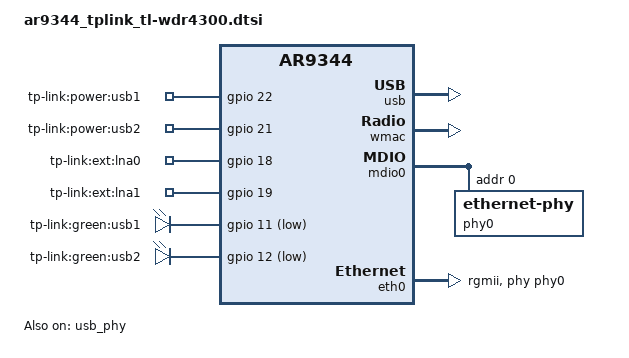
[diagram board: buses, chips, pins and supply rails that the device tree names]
// SPDX-License-Identifier: GPL-2.0-or-later OR MIT

#include "ar9344_tplink_tl-wdrxxxx.dtsi"

/ {
	aliases {
		label-mac-device = &ath9k;
	};

	gpio-export {
		compatible = "gpio-export";

		gpio_usb1_power {
			gpio-export,name = "tp-link:power:usb1";
			gpio-export,output = <1>;
			gpios = <&gpio 22 GPIO_ACTIVE_HIGH>;
		};

		gpio_usb2_power {
			gpio-export,name = "tp-link:power:usb2";
			gpio-export,output = <1>;
			gpios = <&gpio 21 GPIO_ACTIVE_HIGH>;
		};

		gpio_ext_lna0 {
			gpio-export,name = "tp-link:ext:lna0";
			gpio-export,output = <1>;
			gpios = <&gpio 18 GPIO_ACTIVE_HIGH>;
		};

		gpio_ext_lna1 {
			gpio-export,name = "tp-link:ext:lna1";
			gpio-export,output = <1>;
			gpios = <&gpio 19 GPIO_ACTIVE_HIGH>;
		};
	};
};

&leds {
	usb1 {
		label = "tp-link:green:usb1";
		gpios = <&gpio 11 GPIO_ACTIVE_LOW>;
		trigger-sources = <&hub_port1>;
		linux,default-trigger = "usbport";
	};

	usb2 {
		label = "tp-link:green:usb2";
		gpios = <&gpio 12 GPIO_ACTIVE_LOW>;
		trigger-sources = <&hub_port2>;
		linux,default-trigger = "usbport";
	};
};

&usb {
	#address-cells = <1>;
	#size-cells = <0>;
	status = "okay";

	port@1 {
		#address-cells = <1>;
		#size-cells = <0>;
		reg = <1>;
		#trigger-source-cells = <0>;

		hub_port1: port@1 {
			reg = <1>;
			#trigger-source-cells = <0>;
		};

		hub_port2: port@2 {
			reg = <2>;
			#trigger-source-cells = <0>;
		};
	};
};

&usb_phy {
	status = "okay";
};

&ath9k {
	mtd-mac-address = <&uboot 0x1fc00>;
};

&wmac {
	mtd-mac-address = <&uboot 0x1fc00>;
	mtd-mac-address-increment = <(-1)>;
};

&mdio0 {
	status = "okay";

	phy-mask = <0>;

	phy0: ethernet-phy@0 {
		reg = <0>;
		phy-mode = "rgmii";

		qca,ar8327-initvals = <
			0x04 0x07600000 /* PORT0 PAD MODE CTRL */
			0x10 0x80000080 /* POWER_ON_STRAP */
			0x50 0xc737c737 /* LED_CTRL0 */
			0x54 0x00000000 /* LED_CTRL1 */
			0x58 0x00000000 /* LED_CTRL2 */
			0x5c 0x0030c300 /* LED_CTRL3 */
			0x7c 0x0000007e /* PORT0_STATUS */
			>;
	};
};

&eth0 {
	status = "okay";

	/* default for ar934x, except for 1000M */
	pll-data = <0x06000000 0x00000101 0x00001616>;

	mtd-mac-address = <&uboot 0x1fc00>;

	phy-mode = "rgmii";
	phy-handle = <&phy0>;
};
